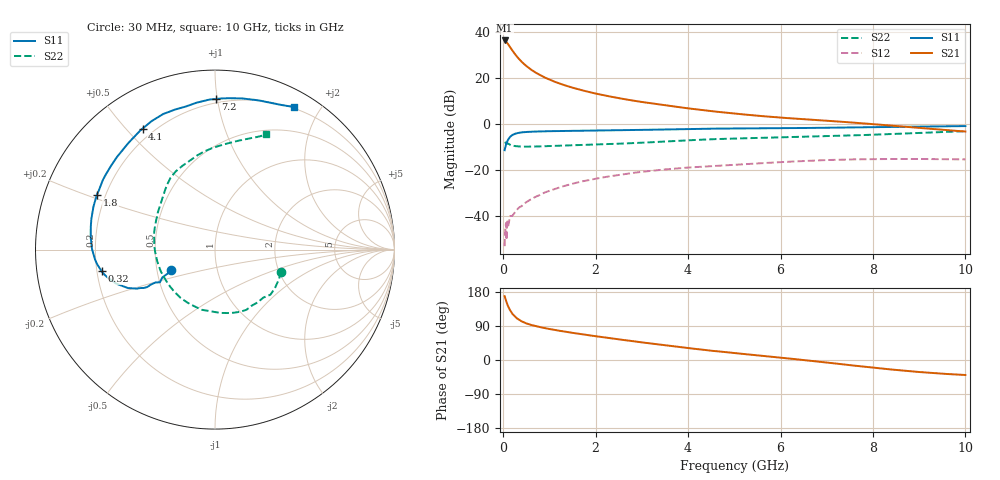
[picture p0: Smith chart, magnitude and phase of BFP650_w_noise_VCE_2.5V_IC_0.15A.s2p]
! Infineon Technologies  Discrete & RF Semiconductors
! BFP650
! VCE =  2.5 V,  IC = 0.15 A
! Common Emitter S-Parameters:  Jan 2016
# GHz  S  MA  R  50
!  f  S11  S21  S12  S22
! GHz  MAG  ANG  MAG  ANG  MAG  ANG  MAG  ANG
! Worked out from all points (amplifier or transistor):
!   229 points, 30 MHz to 10 GHz, reference 50 ohm
!   highest |S21| = 36.5 dB at 30 MHz (marker M1)
!   |S21| within 3 dB of that: start of sweep to 151.3 MHz
!   unconditionally stable (mu >= 1): start of sweep to 55.89 MHz; 97.03 MHz to 121.4 MHz; 594.2 MHz to end of sweep (the widest 3 of 4)
!   at 280 MHz: K = 0.91, MSG = 33.8 dB, |S12| = -37.7 dB
!   at 1.78 GHz: K = 1.08, MAG = 17.8 dB, |S12| = -24.7 dB
!   at 10 GHz: K = 1.06, MAG = 4.6 dB, |S12| = -15.4 dB
!   lowest NFmin = 1.88 dB at 450 MHz
!   S11 on the Smith chart (normalised r, x): 30 MHz: 0.59, -0.15; 320 MHz: 0.22, -0.09; 1.8 GHz: 0.17, +0.21; 4.1 GHz: 0.16, +0.56; 7.2 GHz: 0.17, +0.99; 10 GHz: 0.18, +1.68
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0.03  0.2706 -155.1  66.54 168.5  0.0022 62.4  0.3894 -18.4
0.05  0.3323 -152.1  63.98 160.4  0.0062 38.1  0.3972 -32.9
0.06  0.357 -149.3  63.33 157.0  0.007 67.3  0.3981 -39.1
0.08  0.409 -151.4  59.87 149.6  0.0061 53.2  0.3781 -51.0
0.1  0.4514 -151.7  56.3 143.4  0.0067 70.9  0.3783 -62.3
0.13  0.5027 -154.5  50.66 135.3  0.0078 52.3  0.3633 -76.7
0.2  0.582 -161.0  39.87 121.5  0.0101 68.2  0.3433 -102.4
0.26  0.6192 -165.6  32.99 113.8  0.0124 60.8  0.3327 -117.5
0.32  0.6429 -169.2  27.82 108.0  0.0145 64.3  0.3281 -128.6
0.4  0.6624 -173.1  22.75 102.0  0.0164 63.9  0.3244 -139.9
0.5  0.6758 -177.1  18.47 96.6  0.02 64.8  0.3231 -150.0
0.8  0.6958 174.4  11.66 86.5  0.0289 65.6  0.3283 -168.7
1.2  0.7097 166.1  7.787 77.5  0.0415 62.5  0.3383 176.7
1.7  0.7228 156.9  5.486 68.1  0.0566 58.3  0.3516 164.6
1.8  0.7254 155.1  5.179 66.2  0.059 57.4  0.3545 162.3
3.4  0.7617 130.5  2.661 40.6  0.1008 39.3  0.413 134.9
4.1  0.7856 120.9  2.149 30.1  0.1151 31.5  0.4501 126.2
5.1  0.8087 109.9  1.664 17.1  0.1323 21.9  0.4895 115.7
6.8  0.831 94.1  1.227 -3.9  0.1621 4.6  0.5431 98.0
7.2  0.8391 89.7  1.151 -9.4  0.1672 -0.1  0.5562 94.2
8.4  0.8633 75.0  0.929 -25.1  0.1743 -13.3  0.6091 80.3
10  0.9083 61.2  0.691 -39.6  0.1707 -25.8  0.7022 66.2
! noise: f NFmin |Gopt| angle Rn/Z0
0.45  1.88  0.66  -171  0.06
0.9  1.91  0.67  -164  0.07
1.9  2.19  0.7  -149  0.14
2.4  2.45  0.69  -139  0.22
3.5  2.88  0.69  -118  0.56
